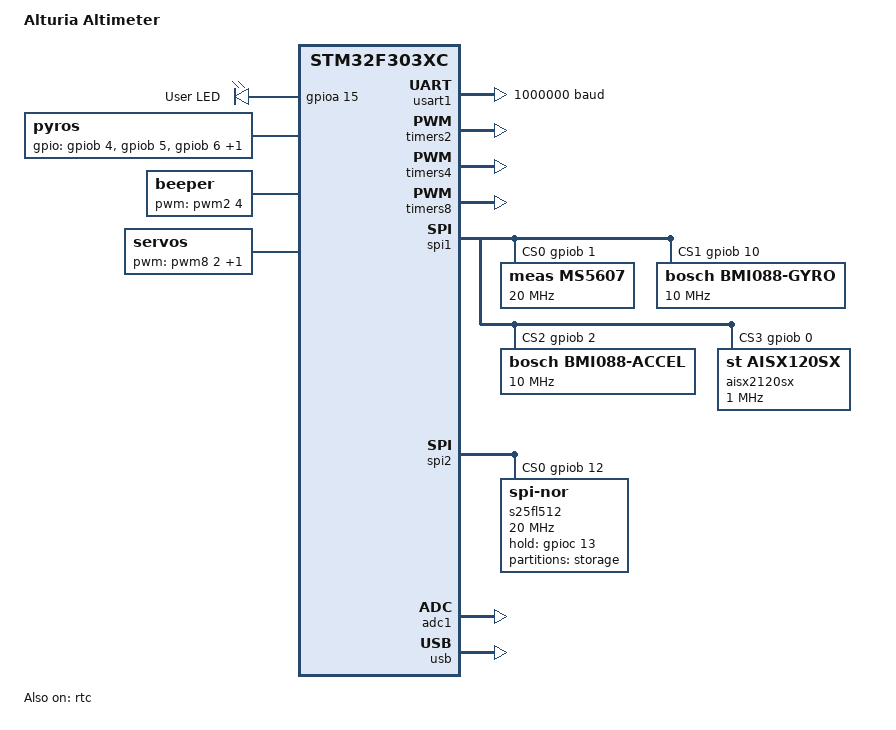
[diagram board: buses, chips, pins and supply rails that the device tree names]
/dts-v1/;
#include <st/f3/stm32f303Xc.dtsi>

/ {
	model = "Alturia Altimeter";
	compatible = "alturia";

	chosen {
		zephyr,console = &usart1;
		zephyr,shell-uart = &usart1;
		zephyr,sram = &sram0;
		zephyr,flash = &flash0;
		zephyr,ccm = &ccm0;
	};

	aliases {
		led0 = &user_led;
		pressure-sensor = &ms5607;
		acc-sensor = &bmi088_acc;
		gyro-sensor = &bmi088_gyr;
		highg-sensor = &ais2120sx;
	};

	leds {
		compatible = "gpio-leds";
		user_led: led_0 {
			gpios = <&gpioa 15 GPIO_INT_ACTIVE_HIGH>;
			label = "User LED";
		};
	};

	pyros{
		compatible = "pyros";
		gpios = <&gpiob 4 0>, <&gpiob 5 0>, <&gpiob 6 0>, <&gpiob 7 0>;
	};

	beeper {
		compatible = "beeper";
		pwms = <&pwm2 4 1000000>;
	};

	servos {
		compatible = "servos";
		pwms = <&pwm8 2 50000000>, <&pwm8 3 50000000>;
	};
};

&rtc {
	status = "okay";
};

&usart1 {
	current-speed = <1000000>;
	status = "okay";
};

&timers2 {
	status = "okay";
	pwm2: pwm {
		st,prescaler = <100>;
		status = "okay";
	};
};

&timers4 {
	status = "okay";
	pwm4: pwm {
		st,prescaler = <100>;
		status = "okay";
	};
};

&timers8 {
	status = "okay";
	pwm8: pwm {
		st,prescaler = <100>;
		status = "okay";
	};
};

&spi1 {
	status = "okay";
	cs-gpios = <&gpiob 1 0>,  <&gpiob 10 0>, <&gpiob 2 0>, <&gpiob 0 0>;
	ms5607: ms5607@0 {
		status = "okay";
		compatible = "meas,ms5607";
		reg = <0>;
		label= "ms5607";
		spi-max-frequency = <20000000>;
	};
	bmi088_gyr: bmi088_gyr@1 {
		status = "okay";
		compatible = "bosch,bmi088-gyro";
		reg = <1>;
		label = "bmi088-gyro";
		spi-max-frequency = <10000000>;
	};
	bmi088_acc: bmi088_acc@2 {
		status = "okay";
		compatible = "bosch,bmi088-accel";
		reg = <2>;
		label = "bmi088-accel";
		spi-max-frequency = <10000000>;
	};
	ais2120sx: ais2120sx@3 {
		status = "okay";
		compatible ="st,aisx120sx";
		reg = <3>;
		label = "aisx2120sx";
		spi-max-frequency = <1000000>;
	};
};

&spi2 {
	status = "okay";
	cs-gpios = <&gpiob 12 0>;
	s25fl512: s25fl512@0 {
		compatible = "jedec,spi-nor";
		reg = <0>;
		label="s25fl512";
		spi-max-frequency = <20000000>;
		jedec-id = [01 02 20];
		page-size = <0x200>;
		erase-types = <0x40000 0xD8 0 0 0 0 0 0>;
		size = <536870912>;
		hold-gpios = <&gpioc 13 0>;
	};
};

&s25fl512 {
	partitions {
		compatible = "fixed-partitions";
		#address-cells = <1>;
		#size-cells = <1>;
		storage_partition: partition@0 {
			label = "storage";
			reg = <0x00000 0x4000000>;
		};
	};
};

&adc1 {
	status = "okay";
};

&usb {
	status = "okay";
};
